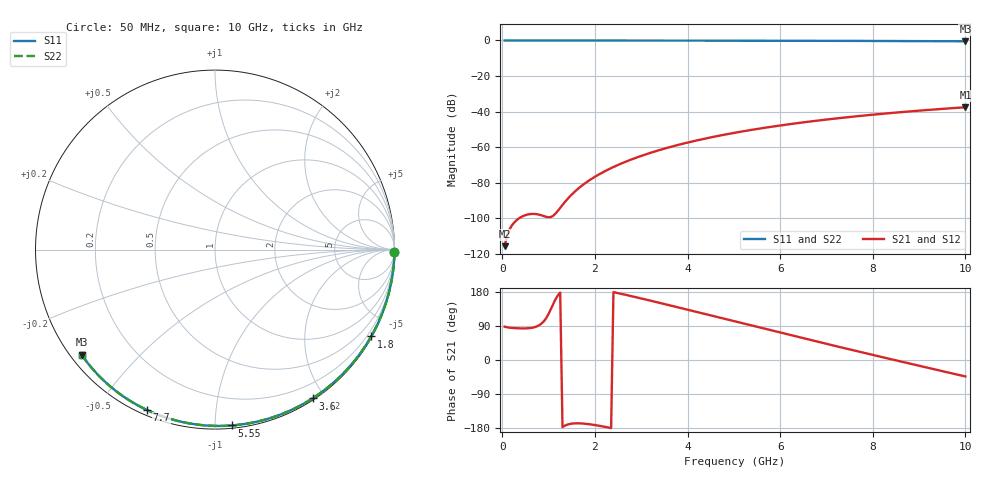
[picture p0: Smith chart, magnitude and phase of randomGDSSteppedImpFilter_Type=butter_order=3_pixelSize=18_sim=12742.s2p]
! freq	dB(S11)	phase(S11)	dB(S12)	phase(S12)
!  dB(S21)	phase(S21)	dB(S22)	phase(S22)
!S-par simulation data
#  GHz  S  DB  R 50
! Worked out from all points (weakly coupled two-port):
!   200 points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, 50 MHz to 10 GHz, reference 50 ohm
!   highest |S21| = -37.61 dB at 10 GHz (marker M1); lowest = -115.8 dB at 50 MHz (marker M2)
!   lowest |S11| = -0.5 dB at 10 GHz (marker M3), VSWR 36.34, Z = 1.54 - j17.3 ohm
!   |S11| at or under -10 dB: nowhere
!   |S22| runs from -0.5 to 0.0 dB; largest |S21 - S12| = 0
!   S11 on the Smith chart (normalised r, x): 50 MHz: open; 1.8 GHz: 0.03, -3.86; 3.6 GHz: 0.02, -1.85; 5.55 GHz: 0.02, -1.10; 7.7 GHz: 0.02, -0.66; 10 GHz: 0.03, -0.35
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0.05  -0.00 -0.8  -115.79 88.0  -115.79 88.0  -0.00 -0.8
0.45  -0.01 -7.4  -98.82 83.3  -98.82 83.3  -0.01 -7.4
0.9  -0.02 -14.7  -98.89 102.6  -98.89 102.6  -0.02 -14.7
1.3  -0.03 -21.1  -92.56 -177.0  -92.56 -177.0  -0.03 -21.1
1.75  -0.04 -28.3  -81.11 -167.8  -81.11 -167.8  -0.04 -28.3
1.8  -0.04 -29.1  -80.15 -168.3  -80.15 -168.3  -0.04 -29.1
2  -0.04 -32.2  -76.73 -171.6  -76.73 -171.6  -0.04 -32.2
2.15  -0.04 -34.6  -74.50 -174.8  -74.50 -174.8  -0.04 -34.6
2.35  -0.05 -37.7  -71.85 -179.7  -71.85 -179.7  -0.05 -37.7
2.55  -0.05 -40.8  -69.48 175.1  -69.48 175.1  -0.05 -40.8
2.95  -0.06 -47.0  -65.43 163.9  -65.43 163.9  -0.06 -47.0
3.4  -0.07 -53.8  -61.65 150.7  -61.65 150.7  -0.07 -53.8
3.6  -0.08 -56.8  -60.16 144.8  -60.16 144.8  -0.08 -56.8
4.3  -0.09 -67.0  -55.69 123.7  -55.69 123.7  -0.09 -67.0
5.05  -0.12 -77.7  -51.81 100.9  -51.81 100.9  -0.12 -77.7
5.55  -0.14 -84.6  -49.62 85.8  -49.62 85.8  -0.14 -84.6
6.1  -0.16 -92.1  -47.49 69.3  -47.49 69.3  -0.16 -92.1
6.7  -0.19 -100.0  -45.44 51.5  -45.44 51.5  -0.19 -100.1
7.7  -0.26 -113.0  -42.55 22.1  -42.55 22.1  -0.26 -113.0
8.35  -0.31 -121.2  -40.94 3.4  -40.94 3.4  -0.31 -121.2
9.2  -0.39 -131.8  -39.10 -20.9  -39.10 -20.9  -0.39 -131.8
10  -0.48 -141.8  -37.61 -43.4  -37.61 -43.4  -0.48 -141.8
